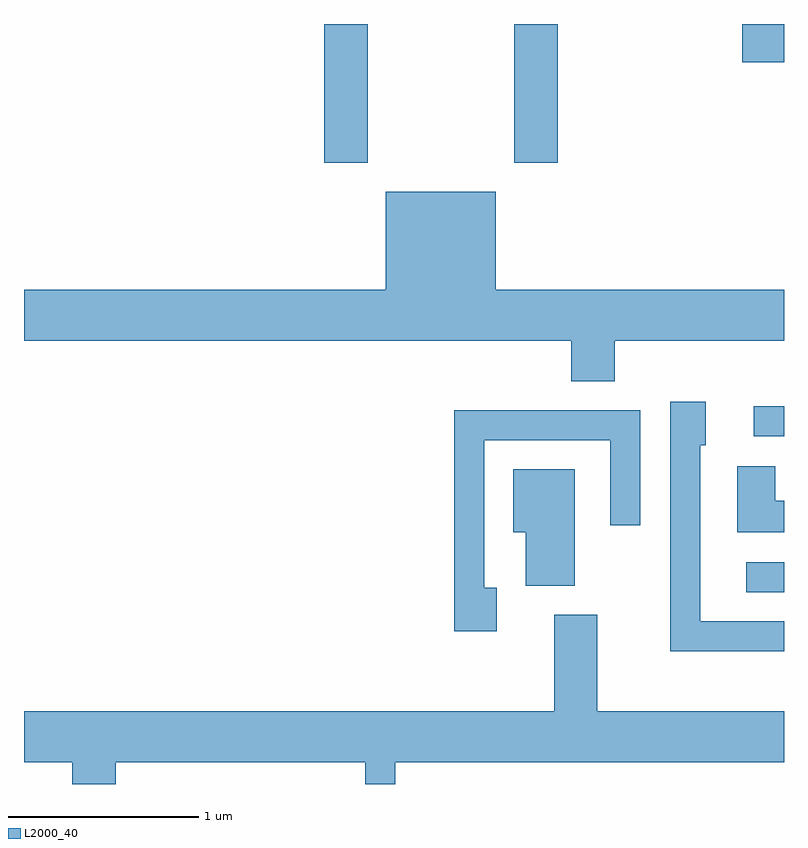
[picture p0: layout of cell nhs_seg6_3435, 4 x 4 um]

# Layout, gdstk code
import gdstk
lib = gdstk.Library(unit=1e-6, precision=1e-09)
def R(c, l, rs):  # rectangles x0, y0, x1, y1
    for r in rs: c.add(gdstk.rectangle(r[:2], r[2:], *l))
def P(c, l, *ps):  # polygons
    for p in ps: c.add(gdstk.Polygon(p, *l))
L2000_40 = (2000, 40)

nhs_seg6_3435 = lib.new_cell('nhs_seg6_3435')
R(nhs_seg6_3435, L2000_40, [(293.413,1533.171,293.611,1533.329), (293.453,1533.991,293.611,1534.149), (291.191,1535.431,291.419,1536.162), (292.191,1535.431,292.419,1536.162), (293.391,1535.961,293.611,1536.162)])
P(nhs_seg6_3435, L2000_40, [(292.719,1534.496),(293.611,1534.496),(293.611,1534.764),(292.094,1534.764),(292.094,1535.279),(291.516,1535.279),(291.516,1534.764),(289.611,1534.764),(289.611,1534.496),(292.491,1534.496),(292.491,1534.281),(292.719,1534.281)],
  [(293.611,1533.019),(293.169,1533.019),(293.169,1533.946),(293.199,1533.946),(293.199,1534.174),(293.011,1534.174),(293.011,1532.861),(293.611,1532.861)],
  [(292.099,1533.194),(292.034,1533.194),(292.034,1533.971),(292.696,1533.971),(292.696,1533.523),(292.854,1533.523),(292.854,1534.129),(291.876,1534.129),(291.876,1532.966),(292.099,1532.966)],
  [(293.611,1533.654),(293.564,1533.654),(293.564,1533.834),(293.366,1533.834),(293.366,1533.486),(293.611,1533.486)],
  [(292.509,1533.819),(292.186,1533.819),(292.186,1533.486),(292.251,1533.486),(292.251,1533.206),(292.509,1533.206)],
  [(290.094,1532.276),(291.406,1532.276),(291.406,1532.162),(291.564,1532.162),(291.564,1532.276),(293.611,1532.276),(293.611,1532.544),(292.629,1532.544),(292.629,1533.054),(292.401,1533.054),(292.401,1532.544),(289.611,1532.544),(289.611,1532.276),(289.866,1532.276),(289.866,1532.162),(290.094,1532.162)])

lib.write_gds('nhs_seg6_3435.gds')
